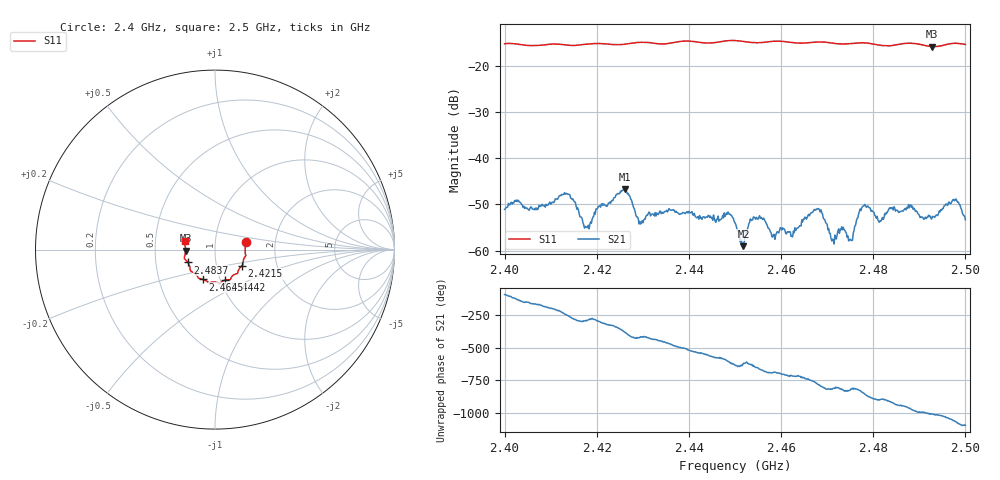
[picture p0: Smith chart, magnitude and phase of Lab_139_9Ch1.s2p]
# Hz S RI R 50
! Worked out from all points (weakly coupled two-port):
!   601 points, 2.4 GHz to 2.5 GHz, reference 50 ohm
!   highest |S21| = -46.72 dB at 2.4262 GHz (marker M1); lowest = -59.0 dB at 2.4518 GHz (marker M2)
!   lowest |S11| = -15.7 dB at 2.4928 GHz (marker M3), VSWR 1.39, Z = 36 - j0.373 ohm
!   |S11| at or under -10 dB: start of sweep to end of sweep
!   S12 and S22 are empty: the file has one direction only
!   S11 on the Smith chart (normalised r, x): 2.4 GHz: 1.41, +0.12; 2.4215 GHz: 1.33, -0.25; 2.4442 GHz: 1.05, -0.37; 2.4645 GHz: 0.83, -0.29; 2.4837 GHz: 0.73, -0.11; 2.5 GHz: 0.71, +0.07
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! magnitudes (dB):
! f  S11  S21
! 2.4 GHz  -15.1  -51.1
! 2.4135 GHz  -15.4  -47.6
! 2.4167 GHz  -15.3  -52.8
! 2.4178 GHz  -15.2  -55.0
! 2.4215 GHz  -15.1  -49.9
! 2.4262 GHz  -15.2  -46.7
! 2.4295 GHz  -14.8  -54.2
! 2.4333 GHz  -15.1  -52.2
! 2.4442 GHz  -15.0  -52.4
! 2.45 GHz  -14.4  -54.0
! 2.4518 GHz  -14.6  -59.0
! 2.4538 GHz  -14.8  -53.4
! 2.4585 GHz  -14.5  -56.5
! 2.4645 GHz  -15.0  -53.3
! 2.4667 GHz  -14.8  -51.8
! 2.475 GHz  -15.1  -57.5
! 2.4777 GHz  -14.9  -50.5
! 2.4833 GHz  -15.6  -51.1
! 2.4837 GHz  -15.5  -50.7
! 2.4928 GHz  -15.7  -52.6
! 2.4977 GHz  -15.0  -49.2
! 2.5 GHz  -15.3  -53.3
